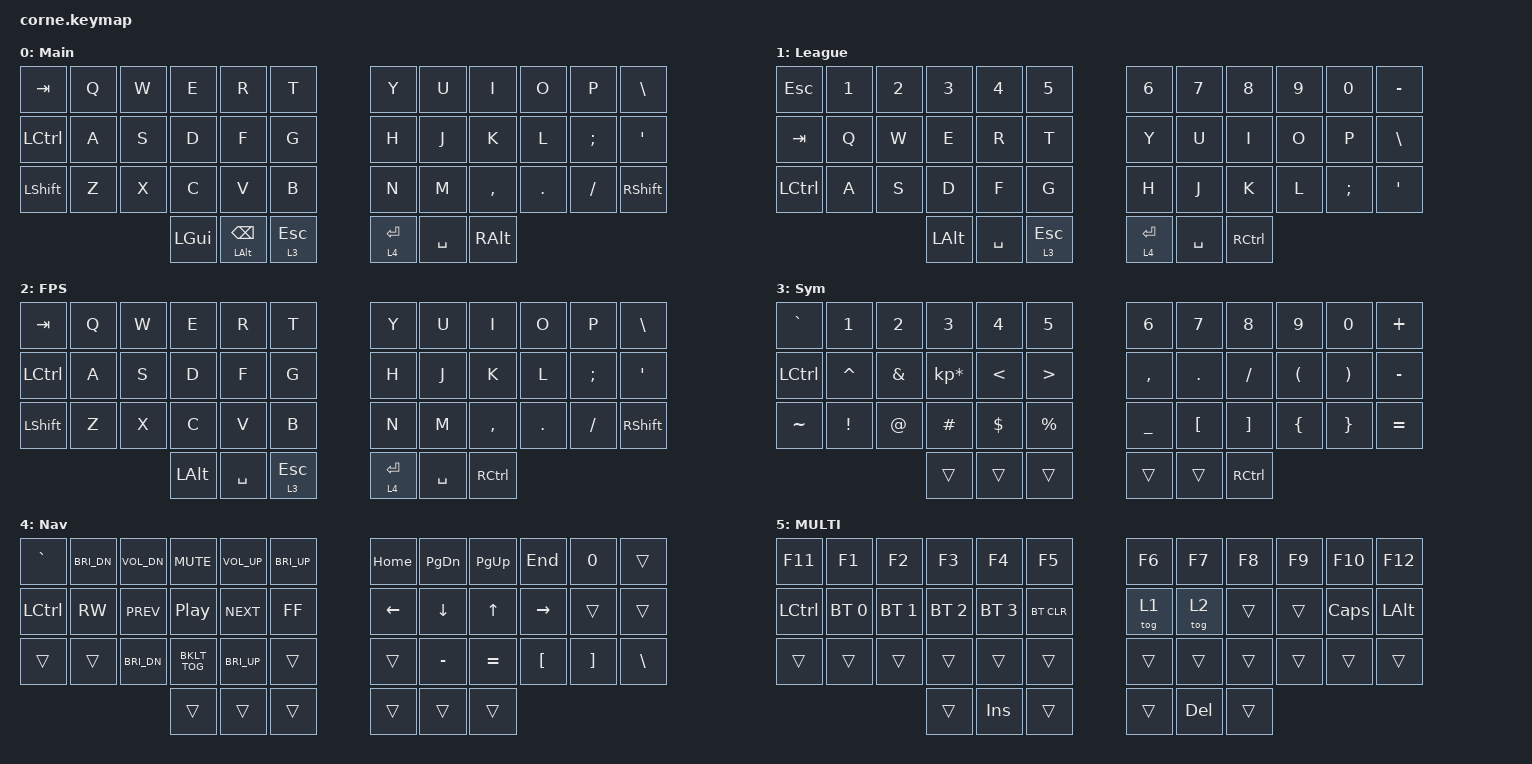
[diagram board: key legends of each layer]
/*
* Copyright (c) 2020 The ZMK Contributors
*
* SPDX-License-Identifier: MIT
*/

#include <behaviors.dtsi>
#include <dt-bindings/zmk/keys.h>
#include <dt-bindings/zmk/bt.h>

#define ZMK_POINTING_DEFAULT_MOVE_VAL 1500
#define ZMK_POINTING_DEFAULT_SCRL_VAL 20
#include <dt-bindings/zmk/pointing.h>

/ {
    debounce {
        debounce-delay-ms = <10>;
    };
};


/ {
  conditional_layers {
    compatible = "zmk,conditional-layers";
    tri_layer {
      if-layers = <3 4>;
      then-layer = <5>;
    };
  };
};

/*
/ {
  combos {
    compatible = "zmk,combos";
    combo_layer {
      timeout-ms = <50>;
      key-positions = <39 40>;
      bindings = <&tog 6>;
    };
  };
}; 
*/

&lt {
  tapping-term-ms = <180>;
  quick_tap_ms = <0>;
  flavor = "hold-preferred";
};

&mt {
  tapping-term-ms = <150>;
  quick_tap_ms = <0>;
  flavor = "tap-preferred";
  // retro-tap;
};


/ {

  behaviors {
    hm: homerow_mods {
      compatible = "zmk,behavior-hold-tap";
      label = "HOMEROW_MODS";
      #binding-cells = <2>;
      tapping-term-ms = <150>;
      quick_tap_ms = <0>;
      flavor = "tap-preferred";
      bindings = <&kp>, <&kp>;
    };

  };


  keymap {
    compatible = "zmk,keymap";

    default_layer {
      /*
*
* ┌─────┬─────┬─────┬─────┬─────┬─────┐               ┌─────┬─────┬─────┬─────┬─────┬─────┐
* │Tab  │  q  │  w  │  e  │  r  │  t  │               │  y  │  u  │  i  │  o  │  p  │  \  │
* ├─────┼─────┼─────┼─────┼─────┼─────┤               ├─────┼─────┼─────┼─────┼─────┼─────┤
* │LCTRL│  a  │  s  │  d  │  f  │  g  │               │  h  │  j  │  k  │  l  │  ;  │  '  │
* ├─────┼─────┼─────┼─────┼─────┼─────┤               ├─────┼─────┼─────┼─────┼─────┼─────┤
* │LSHFT│  z  │  x  │  c  │  v  │  b  │               │  n  │  m  │  ,  │  .  │  /  │RSHFT│
* └─────┴─────┴─────┴───┬─┴───┬─┴───┬─┴───┐        ┌──┴──┬──┴──┬──┴──┬──┴─────┴─────┴─────┘
*                       │LALT │GUI/B│ESC/2│        │RET/3│SPC  │RCTRL│
*                       └─────┴─────┴─────┘        └─────┴─────┴─────┘
*/
      display-name = "Main";
      bindings = <
        &kp TAB   &kp Q  &kp W  &kp E   &kp R   &kp T                      &kp Y  &kp U  &kp I     &kp O   &kp P    &kp BSLH
        &kp LCTRL &kp A  &kp S  &kp D   &kp F   &kp G                      &kp H  &kp J  &kp K     &kp L   &kp SEMI &kp SQT
        &kp LSHFT &kp Z  &kp X  &kp C   &kp V   &kp B                      &kp N  &kp M  &kp COMMA &kp DOT &kp FSLH &kp RSHFT
        &kp LGUI &mt LALT BSPC &lt 3 ESC      &lt 4 RET &kp SPACE &kp RALT
      >;

    };

    league_layer {

      /*
* ┌─────┬─────┬─────┬─────┬─────┬─────┐               ┌─────┬─────┬─────┬─────┬─────┬─────┐
* │Tab  │  q  │  w  │  e  │  r  │  t  │               │  y  │  u  │  i  │  o  │  p  │  \  │
* ├─────┼─────┼─────┼─────┼─────┼─────┤               ├─────┼─────┼─────┼─────┼─────┼─────┤
* │LCTRL│  a  │  s  │  d  │  f  │  g  │               │  h  │  j  │  k  │  l  │  ;  │  '  │
* ├─────┼─────┼─────┼─────┼─────┼─────┤               ├─────┼─────┼─────┼─────┼─────┼─────┤
* │LSHFT│  z  │  x  │  c  │  v  │  b  │               │  n  │  m  │  ,  │  .  │  /  │RSHFT│
* └─────┴─────┴─────┴───┬─┴───┬─┴───┬─┴───┐        ┌──┴──┬──┴──┬──┴──┬──┴─────┴─────┴─────┘
*                       │LALT │ SPC │ESC/2│        │RET/3│SPC  │RCTRL│
*                       └─────┴─────┴─────┘        └─────┴─────┴─────┘
*/

      display-name = "League";
      bindings = <
        &kp ESC   &kp N1 &kp N2 &kp N3  &kp N4  &kp N5                     &kp N6 &kp N7 &kp N8  &kp N9  &kp N0   &kp MINUS
        &kp TAB   &kp Q  &kp W  &kp E   &kp R   &kp T                      &kp Y  &kp U  &kp I   &kp O   &kp P    &kp BSLH
        &kp LCTRL &kp A  &kp S  &kp D   &kp F   &kp G                      &kp H  &kp J  &kp K   &kp L   &kp SEMI &kp SQT
        &kp LALT &kp SPACE  &lt 3 ESC      &lt 4 RET &kp SPACE   &kp RCTRL
      >;

    };

    gaming_layer {

      /*
* ┌─────┬─────┬─────┬─────┬─────┬─────┐               ┌─────┬─────┬─────┬─────┬─────┬─────┐
* │Tab  │  q  │  w  │  e  │  r  │  t  │               │  y  │  u  │  i  │  o  │  p  │  \  │
* ├─────┼─────┼─────┼─────┼─────┼─────┤               ├─────┼─────┼─────┼─────┼─────┼─────┤
* │LCTRL│  a  │  s  │  d  │  f  │  g  │               │  h  │  j  │  k  │  l  │  ;  │  '  │
* ├─────┼─────┼─────┼─────┼─────┼─────┤               ├─────┼─────┼─────┼─────┼─────┼─────┤
* │LSHFT│  z  │  x  │  c  │  v  │  b  │               │  n  │  m  │  ,  │  .  │  /  │RSHFT│
* └─────┴─────┴─────┴───┬─┴───┬─┴───┬─┴───┐        ┌──┴──┬──┴──┬──┴──┬──┴─────┴─────┴─────┘
*                       │LALT │ SPC │ESC/2│        │RET/3│SPC  │RCTRL│
*                       └─────┴─────┴─────┘        └─────┴─────┴─────┘
*/

      display-name = "FPS";
      bindings = <
        &kp TAB   &kp Q  &kp W  &kp E   &kp R   &kp T                      &kp Y  &kp U  &kp I     &kp O   &kp P    &kp BSLH
        &kp LCTRL &kp A  &kp S  &kp D   &kp F   &kp G                      &kp H  &kp J  &kp K     &kp L   &kp SEMI &kp SQT
        &kp LSHFT &kp Z  &kp X  &kp C   &kp V   &kp B                      &kp N  &kp M  &kp COMMA &kp DOT &kp FSLH &kp RSHFT
        &kp LALT &kp SPACE &lt 3 ESC      &lt 4 RET &kp SPACE &kp RCTRL
      >;

    };


    symbol_layer {

      /*
* ┌─────┬─────┬─────┬─────┬─────┬─────┐               ┌─────┬─────┬─────┬─────┬─────┬─────┐
* │  `  │  ^  │  &  │  *  │  (  │  )  │               │  ,  │  .  │  /  │  <  │  >  │  +  │
* ├─────┼─────┼─────┼─────┼─────┼─────┤               ├─────┼─────┼─────┼─────┼─────┼─────┤
* │LCTRL│  1  │  2  │  3  │  4  │  5  │               │  6  │  7  │  8  │  9  │  0  │  -  │
* ├─────┼─────┼─────┼─────┼─────┼─────┤               ├─────┼─────┼─────┼─────┼─────┼─────┤
* │  ~  │  !  │  @  │  #  │  $  │  %  │               │  _  │  [  │  ]  │  {  │  }  │  =  │
* └─────┴─────┴─────┴───┬─┴───┬─┴───┬─┴───┐        ┌──┴──┬──┴──┬──┴──┬──┴─────┴─────┴─────┘
*                       │LALT │MO3  │LGUI │        │RET/3│SPC  │RALT │
*                       └─────┴─────┴─────┘        └─────┴─────┴─────┘
*/

      display-name = "Sym";
      bindings = <
        &kp GRAVE &kp N1    &kp N2   &kp N3          &kp N4     &kp N5         &kp N6    &kp N7    &kp N8   &kp N9   &kp N0    &kp PLUS
        &kp LCTRL &kp CARET &kp AMPS &kp KP_MULTIPLY &kp LT     &kp GT         &kp COMMA &kp DOT   &kp FSLH &kp LPAR &kp RPAR  &kp MINUS
        &kp TILDE &kp EXCL  &kp AT   &kp HASH        &kp DOLLAR &kp PRCNT      &kp UNDER &kp LBKT  &kp RBKT &kp LBRC &kp RBRC  &kp EQUAL
        &trans    &trans   &trans    &trans   &trans    &kp RCTRL    
      >;

    };

    navigation_layer {

      /*
* ┌─────┬─────┬─────┬─────┬─────┬─────┐               ┌─────┬─────┬─────┬─────┬─────┬─────┐
* │TAB  │BR_DN│VL_DN│VL_MT│VL_UP│BR_UP│               │HOME │PG_DN│PG_UP│END  │  0  │BSPC │
* ├─────┼─────┼─────┼─────┼─────┼─────┤               ├─────┼─────┼─────┼─────┼─────┼─────┤
* │LCTRL│RW   │PREV │PAUSE│NEXT │FF   │               │LEFT │DOWN │UP   │RIGHT│  ;  │  '  │
* ├─────┼─────┼─────┼─────┼─────┼─────┤               ├─────┼─────┼─────┼─────┼─────┼─────┤
* │LSHFT│  Z  │BR_DN│BL_TG│BR_UP│trans│               │  N  │  M  │  ,  │  .  │  /  │RSHFT│
* └─────┴─────┴─────┴───┬─┴───┬─┴───┬─┴───┐        ┌──┴──┬──┴──┬──┴──┬──┴─────┴─────┴─────┘
*                       │LALT │MO3  │LGUI │        │RET/3│SPC  │RALT │
*                       └─────┴─────┴─────┘        └─────┴─────┴─────┘
*/

      display-name = "Nav";
      bindings = <
        &kp GRAVE  &kp C_BRI_DN &kp C_VOL_DN  &kp C_MUTE  &kp C_VOL_UP &kp C_BRI_UP     &kp HOME  &kp PG_DN &kp PG_UP &kp END   &kp N0  &trans
        &kp LCTRL  &kp C_RW &kp C_PREV &kp C_PLAY_PAUSE &kp C_NEXT &kp C_FF       &kp LEFT  &kp DOWN  &kp UP    &kp RIGHT &trans  &trans
        &trans     &trans   &kp C_BRI_DN &kp C_BKLT_TOG &kp C_BRI_UP &trans &trans &kp MINUS &kp EQUAL &kp LBKT &kp RBKT  &kp BSLH
        &trans  &trans  &trans    &trans      &trans    &trans
      >;
    };

    layer_switching_layer {

      /*
* ┌─────┬─────┬─────┬─────┬─────┬─────┐               ┌─────┬─────┬─────┬─────┬─────┬─────┐
* │TAB  │  Q  │VL_DN│VL_MT│VL_UP│trans│               │HOME │PG_DN│PG_UP│END  │  0  │BSPC │
* ├─────┼─────┼─────┼─────┼─────┼─────┤               ├─────┼─────┼─────┼─────┼─────┼─────┤
* │LCTRL│RW   │PREV │PAUSE│NEXT │FF   │               │LEFT │DOWN │UP   │RIGHT│  ;  │  '  │
* ├─────┼─────┼─────┼─────┼─────┼─────┤               ├─────┼─────┼─────┼─────┼─────┼─────┤
* │LSHFT│  Z  │BR_DN│BL_TG│BR_UP│trans│               │  N  │  M  │  ,  │  .  │  /  │RSHFT│
* └─────┴─────┴─────┴───┬─┴───┬─┴───┬─┴───┐        ┌──┴──┬──┴──┬──┴──┬──┴─────┴─────┴─────┘
*                       │ ALT │MO3  │LGUI │        │RET/3│SPC  │RALT │
*                       └─────┴─────┴─────┘        └─────┴─────┴─────┘
*/

      display-name = "MULTI";
      bindings = <
        &kp F11    &kp F1       &kp F2        &kp F3       &kp F4       &kp F5          &kp F6  &kp F7 &kp F8  &kp F9      &kp F10 &kp F12
        &kp LCTRL  &bt BT_SEL 0 &bt BT_SEL 1  &bt BT_SEL 2 &bt BT_SEL 3 &bt BT_CLR      &tog 1  &tog 2 &trans &trans &kp CAPS  &kp LALT
        &trans &trans &trans &trans &trans &trans &trans &trans &trans &trans &trans &trans
        &trans  &kp INS  &trans    &trans   &kp DEL  &trans 
      >;
    };

    /*
    mouse_layer {
      display-name = "Mouse";
      bindings = <
        &kp TAB   &kp Q  &kp W  &kp E   &kp R   &kp T                      &kp Y  &msc SCRL_DOWN  &mmv MOVE_UP     &msc SCRL_UP   &kp P    &kp BSLH
        &kp LCTRL &kp A  &kp S  &kp D   &kp F   &kp G                      &kp H  &mmv MOVE_LEFT  &mmv MOVE_DOWN     &mmv MOVE_RIGHT   &kp SEMI &kp SQT
        &kp LSHFT &kp Z  &kp X  &kp C   &kp V   &kp B                      &kp N  &mkp LCLK  &mkp RCLK &mkp MCLK &kp FSLH &kp RSHFT
        &kp LGUI &mt LALT BSPC &lt 3 ESC      &lt 4 RET &kp SPACE &kp RALT
      >;

    };
    */

  };
};
